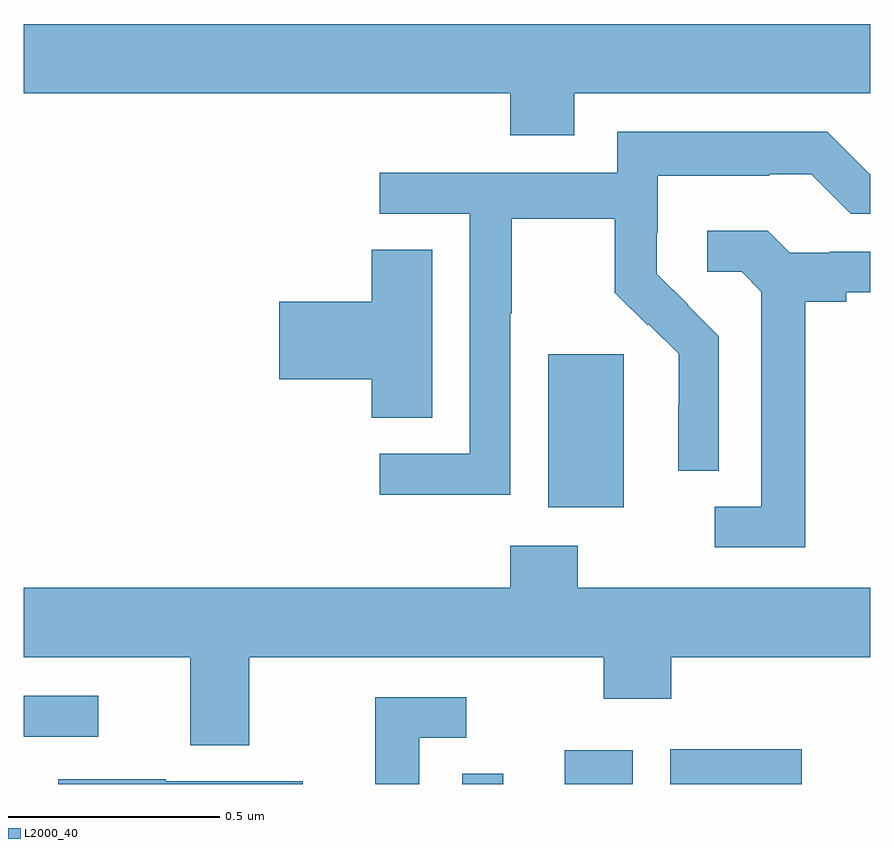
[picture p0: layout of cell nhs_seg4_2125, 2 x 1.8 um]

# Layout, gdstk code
import gdstk
lib = gdstk.Library(unit=1e-6, precision=1e-09)
def R(c, l, rs):  # rectangles x0, y0, x1, y1
    for r in rs: c.add(gdstk.rectangle(r[:2], r[2:], *l))
def P(c, l, *ps):  # polygons
    for p in ps: c.add(gdstk.Polygon(p, *l))
L2000_40 = (2000, 40)

nhs_seg4_2125 = lib.new_cell('nhs_seg4_2125')
R(nhs_seg4_2125, L2000_40, [(138.036,749.9,138.133,749.924), (138.278,749.9,138.439,749.98), (138.528,749.9,138.838,749.982), (137,750.012,137.176,750.108), (138.239,750.554,138.418,750.915)])
P(nhs_seg4_2125, L2000_40, [(138.301,751.532),(139,751.532),(139,751.696),(137,751.696),(137,751.532),(138.149,751.532),(138.149,751.433),(138.301,751.433)],
  [(138.15,751.012),(138.153,751.012),(138.153,751.236),(138.397,751.236),(138.397,751.061),(138.474,750.984),(138.477,750.987),(138.548,750.917),(138.548,750.794),(138.546,750.794),(138.546,750.64),(138.642,750.64),(138.642,750.958),(138.569,751.031),(138.57,751.032),(138.496,751.106),(138.496,751.203),(138.498,751.203),(138.498,751.337),(138.761,751.337),(138.761,751.341),(138.861,751.341),(138.954,751.248),(139,751.248),(139,751.341),(138.999,751.341),(138.899,751.441),(138.402,751.441),(138.402,751.344),(137.841,751.344),(137.841,751.248),(138.054,751.248),(138.054,750.681),(137.841,750.681),(137.841,750.583),(138.15,750.583)],
  [(138.847,751.04),(138.943,751.04),(138.943,751.062),(139,751.062),(139,751.158),(138.904,751.158),(138.904,751.155),(138.81,751.155),(138.758,751.207),(138.615,751.207),(138.615,751.11),(138.696,751.11),(138.743,751.063),(138.743,750.555),(138.633,750.555),(138.633,750.459),(138.847,750.459)],
  [(137.965,751.163),(137.822,751.163),(137.822,751.04),(137.604,751.04),(137.604,750.857),(137.822,750.857),(137.822,750.766),(137.965,750.766)],
  [(137.533,750.2),(138.37,750.2),(138.37,750.101),(138.53,750.101),(138.53,750.2),(139,750.2),(139,750.364),(138.309,750.364),(138.309,750.463),(138.149,750.463),(138.149,750.364),(137,750.364),(137,750.2),(137.393,750.2),(137.393,749.992),(137.533,749.992)],
  [(137.935,750.009),(138.046,750.009),(138.046,750.105),(137.831,750.105),(137.831,749.9),(137.935,749.9)],
  [(137.659,749.907),(137.335,749.907),(137.335,749.911),(137.081,749.911),(137.081,749.9),(137.659,749.9)])

lib.write_gds('nhs_seg4_2125.gds')
